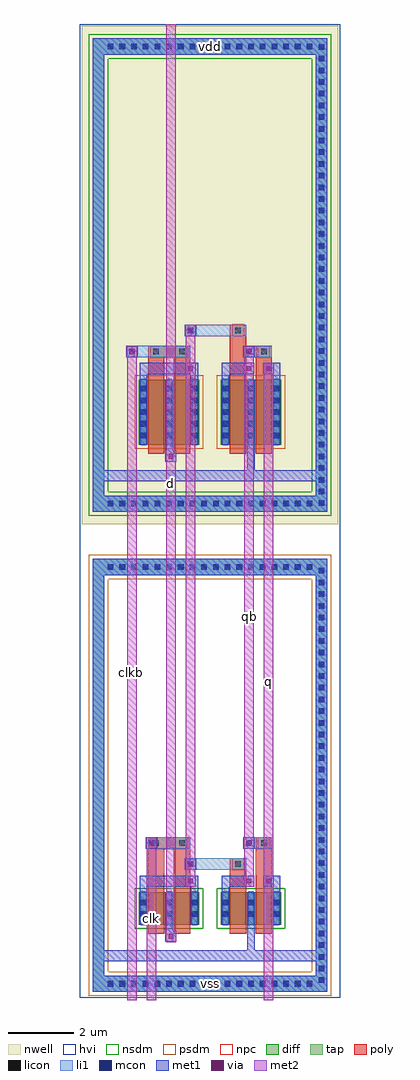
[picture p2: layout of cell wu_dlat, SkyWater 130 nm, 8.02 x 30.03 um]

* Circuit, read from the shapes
.subckt wu_dlat clk clkb d q qb vdd vss
XM1 d clk n1 vss sky130_fd_pr__nfet_g5v0d10v5 w=1 l=0.5 m=2
XM2 vss n1 qb vss sky130_fd_pr__nfet_g5v0d10v5 w=1 l=0.5
XM3 q qb vss vss sky130_fd_pr__nfet_g5v0d10v5 w=1 l=0.5
XM4 d clkb n1 vdd sky130_fd_pr__pfet_g5v0d10v5 w=2 l=0.5 m=2
XM5 vdd n1 qb vdd sky130_fd_pr__pfet_g5v0d10v5 w=2 l=0.5
XM6 q qb vdd vdd sky130_fd_pr__pfet_g5v0d10v5 w=2 l=0.5
.ends

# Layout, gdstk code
import gdstk
lib = gdstk.Library(unit=1e-6, precision=1e-09)
def R(c, l, rs):  # rectangles x0, y0, x1, y1
    for r in rs: c.add(gdstk.rectangle(r[:2], r[2:], *l))
def A(c, l, x, y, w, h, nx, ny, dx, dy):  # array of equal rectangles
    R(c, l, [(x+i*dx, y+j*dy, x+i*dx+w, y+j*dy+h) for i in range(nx) for j in range(ny)])
nwell = (64, 20)
diff = (65, 20)
tap = (65, 44)
poly = (66, 20)
licon = (66, 44)
li1 = (67, 20)
mcon = (67, 44)
met1 = (68, 20)
via = (68, 44)
met2 = (69, 20)
hvi = (75, 20)
nsdm = (93, 44)
psdm = (94, 20)
npc = (95, 20)

wu_dlat = lib.new_cell('wu_dlat')
R(wu_dlat, nwell, [(-3.95,14.64,3.95,29.97)])
R(wu_dlat, diff, [(-2.195,2.32,-0.325,3.32), (0.325,2.32,2.195,3.32), (-2.195,17.09,-0.325,19.09), (0.325,17.09,2.195,19.09)])
R(wu_dlat, tap, [(-3.6,0.25,3.6,0.75), (-3.6,0.25,-3.26,13.57), (3.26,0.25,3.6,13.57), (-3.6,13.07,3.6,13.57), (-3.6,15.02,3.6,15.52), (-3.6,15.02,-3.26,29.59), (3.26,15.02,3.6,29.59), (-3.6,29.09,3.6,29.59)])
R(wu_dlat, poly, [(-1.905,2.035,-1.405,3.605), (-1.115,2.035,-0.615,3.605), (0.615,2.035,1.115,3.605), (1.405,2.035,1.905,3.605), (-1.905,3.32,-1.405,4.83), (-1.115,3.32,-0.615,4.83), (0.615,3.32,1.115,4.18), (1.405,3.32,1.905,4.83), (0.615,4,1.115,4.36), (-1.905,4.65,-0.615,5.01), (1.405,4.65,1.905,5.01), (-1.905,16.805,-1.405,19.375), (-1.115,16.805,-0.615,19.375), (0.615,16.805,1.115,19.375), (1.405,16.805,1.905,19.375), (-1.905,19.09,-1.405,19.95), (-1.115,19.09,-0.615,19.95), (0.615,19.09,1.115,20.6), (1.405,19.09,1.905,19.95), (-1.905,19.77,-0.615,20.13), (1.405,19.77,1.905,20.13), (0.615,20.42,1.115,20.78)])
A(wu_dlat, licon, -3.145, 0.415, 0.17, 0.17, 18, 2, 0.36, 12.82)
A(wu_dlat, licon, 3.345, 0.525, 0.17, 0.17, 1, 36, 0, 0.36)
A(wu_dlat, licon, -2.135, 2.555, 0.17, 0.17, 3, 2, 0.79, 0.36)
A(wu_dlat, licon, 0.385, 2.555, 0.17, 0.17, 3, 2, 0.79, 0.36)
A(wu_dlat, licon, -3.145, 15.185, 0.17, 0.17, 18, 2, 0.36, 14.07)
A(wu_dlat, licon, 3.345, 15.2, 0.17, 0.17, 1, 40, 0, 0.36)
A(wu_dlat, licon, -2.135, 17.285, 0.17, 0.17, 3, 5, 0.79, 0.36)
A(wu_dlat, licon, 0.385, 17.285, 0.17, 0.17, 3, 5, 0.79, 0.36)
R(wu_dlat, licon, [(0.78,4.095,0.95,4.265), (-1.74,4.745,-1.57,4.915), (-0.95,4.745,-0.78,4.915), (1.57,4.745,1.74,4.915), (-1.74,19.865,-1.57,20.035), (-0.95,19.865,-0.78,20.035), (1.57,19.865,1.74,20.035), (0.78,20.515,0.95,20.685)])
A(wu_dlat, li1, -2.135, 2.3, 0.17, 1.04, 3, 1, 0.79, 0)
A(wu_dlat, li1, 0.385, 2.3, 0.17, 1.04, 3, 1, 0.79, 0)
A(wu_dlat, li1, -2.135, 17.07, 0.17, 2.04, 3, 1, 0.79, 0)
A(wu_dlat, li1, 0.385, 17.07, 0.17, 2.04, 3, 1, 0.79, 0)
R(wu_dlat, li1, [(-3.6,0.25,3.6,0.75), (-3.6,0.25,-3.26,13.57), (3.26,0.25,3.6,13.57), (-0.77,4,1.115,4.36), (-1.97,4.65,-0.615,5.01), (1.03,4.65,1.905,5.01), (-3.6,13.07,3.6,13.57), (-3.6,15.02,3.6,15.52), (-3.6,15.02,-3.26,29.59), (3.26,15.02,3.6,29.59), (-2.57,19.77,-0.615,20.13), (1.03,19.77,1.905,20.13), (-0.77,20.42,1.115,20.78), (-3.6,29.09,3.6,29.59)])
A(wu_dlat, mcon, -3.145, 0.415, 0.17, 0.17, 18, 2, 0.36, 12.82)
A(wu_dlat, mcon, 3.345, 0.525, 0.17, 0.17, 1, 36, 0, 0.36)
A(wu_dlat, mcon, -2.135, 2.555, 0.17, 0.17, 3, 2, 0.79, 0.36)
A(wu_dlat, mcon, 0.385, 2.555, 0.17, 0.17, 3, 2, 0.79, 0.36)
A(wu_dlat, mcon, -3.145, 15.185, 0.17, 0.17, 18, 2, 0.36, 14.07)
A(wu_dlat, mcon, 3.345, 15.2, 0.17, 0.17, 1, 40, 0, 0.36)
A(wu_dlat, mcon, -2.135, 17.285, 0.17, 0.17, 3, 5, 0.79, 0.36)
A(wu_dlat, mcon, 0.385, 17.285, 0.17, 0.17, 3, 5, 0.79, 0.36)
R(wu_dlat, mcon, [(-0.685,4.095,-0.515,4.265), (-1.885,4.745,-1.715,4.915), (1.115,4.745,1.285,4.915), (-2.485,19.865,-2.315,20.035), (1.115,19.865,1.285,20.035), (-0.685,20.515,-0.515,20.685)])
A(wu_dlat, met1, -2.165, 2.32, 0.23, 1, 3, 1, 0.79, 0)
A(wu_dlat, met1, 0.355, 2.32, 0.23, 1, 3, 1, 0.79, 0)
A(wu_dlat, met1, -2.165, 17.09, 0.23, 2, 3, 1, 0.79, 0)
A(wu_dlat, met1, 0.355, 17.09, 0.23, 2, 3, 1, 0.79, 0)
R(wu_dlat, met1, [(-3.6,0.25,3.6,0.75), (-3.6,0.25,-3.26,13.57), (3.26,0.25,3.6,13.57), (-3.43,1.19,3.43,1.53), (1.145,1.19,1.375,2.32), (-1.375,1.79,-1.145,2.32), (-1.375,1.79,-1.035,2.13), (-1.365,1.795,-1.035,2.125), (-2.165,3.32,-1.935,3.83), (-0.585,3.32,-0.355,3.83), (0.355,3.32,0.585,3.83), (1.935,3.32,2.165,3.83), (-2.165,3.49,-0.355,3.83), (0.355,3.49,1.365,3.83), (1.635,3.49,2.165,3.83), (-0.765,3.495,-0.435,3.825), (1.035,3.495,1.365,3.825), (1.635,3.495,1.965,3.825), (-0.77,4.01,-0.43,4.35), (-1.97,4.66,-1.63,5), (1.03,4.66,1.37,5), (-3.6,13.07,3.6,13.57), (-3.6,15.02,3.6,15.52), (-3.6,15.02,-3.26,29.59), (3.26,15.02,3.6,29.59), (-3.43,15.96,3.43,16.3), (1.145,15.96,1.375,17.09), (-1.375,16.56,-1.145,17.09), (-1.375,16.56,-1.035,16.9), (-1.365,16.565,-1.035,16.895), (-2.165,19.09,-1.935,19.6), (-0.585,19.09,-0.355,19.6), (0.355,19.09,0.585,19.6), (1.935,19.09,2.165,19.6), (-2.165,19.26,-0.355,19.6), (0.355,19.26,1.365,19.6), (1.635,19.26,2.165,19.6), (-0.765,19.265,-0.435,19.595), (1.035,19.265,1.365,19.595), (1.635,19.265,1.965,19.595), (-2.57,19.78,-2.23,20.12), (1.03,19.78,1.37,20.12), (-0.77,20.43,-0.43,20.77), (-3.6,29.09,3.6,29.59)])
R(wu_dlat, via, [(-1.275,1.885,-1.125,2.035), (-0.675,3.585,-0.525,3.735), (1.125,3.585,1.275,3.735), (1.725,3.585,1.875,3.735), (-0.675,4.105,-0.525,4.255), (-1.875,4.755,-1.725,4.905), (1.125,4.755,1.275,4.905), (-1.275,16.655,-1.125,16.805), (-0.675,19.355,-0.525,19.505), (1.125,19.355,1.275,19.505), (1.725,19.355,1.875,19.505), (-2.475,19.875,-2.325,20.025), (1.125,19.875,1.275,20.025), (-0.675,20.525,-0.525,20.675)])
R(wu_dlat, met2, [(-2.54,0,-2.26,20.13), (-1.94,0,-1.66,5.01), (1.66,0,1.94,19.61), (-1.34,1.78,-1.06,30.03), (-1.365,1.795,-1.035,2.125), (-0.74,3.48,-0.46,20.78), (1.06,3.48,1.34,20.13), (-0.765,3.495,-0.435,3.825), (1.035,3.495,1.365,3.825), (1.635,3.495,1.965,3.825), (-0.765,4.015,-0.435,4.345), (-1.965,4.665,-1.635,4.995), (1.035,4.665,1.365,4.995), (-1.365,16.565,-1.035,16.895), (-0.765,19.265,-0.435,19.595), (1.035,19.265,1.365,19.595), (1.635,19.265,1.965,19.595), (-2.565,19.785,-2.235,20.115), (1.035,19.785,1.365,20.115), (-0.765,20.435,-0.435,20.765)])
R(wu_dlat, hvi, [(-4.01,0.065,4.01,30.03)])
R(wu_dlat, nsdm, [(-2.32,2.195,-0.2,3.445), (0.2,2.195,2.32,3.445), (-3.725,14.895,3.725,15.645), (-3.725,14.895,-3.135,29.715), (3.135,14.895,3.725,29.715), (-3.725,28.965,3.725,29.715)])
R(wu_dlat, psdm, [(-3.725,0.125,3.725,0.875), (-3.725,0.125,-3.135,13.695), (3.135,0.125,3.725,13.695), (-3.725,12.945,3.725,13.695), (-2.32,16.965,-0.2,19.215), (0.2,16.965,2.32,19.215)])
R(wu_dlat, npc, [(0.68,3.995,1.05,4.365), (-1.84,4.645,-0.68,5.015), (1.47,4.645,1.84,5.015), (-1.84,19.765,-0.68,20.135), (1.47,19.765,1.84,20.135), (0.68,20.415,1.05,20.785)])
wu_dlat.add(gdstk.Label('vdd', (0,29.34), layer=68, texttype=5))
wu_dlat.add(gdstk.Label('vss', (0,0.5), layer=68, texttype=5))
wu_dlat.add(gdstk.Label('d', (-1.2,15.905), layer=69, texttype=5))
wu_dlat.add(gdstk.Label('clk', (-1.8,2.505), layer=69, texttype=5))
wu_dlat.add(gdstk.Label('clkb', (-2.4,10.065), layer=69, texttype=5))
wu_dlat.add(gdstk.Label('q', (1.8,9.805), layer=69, texttype=5))
wu_dlat.add(gdstk.Label('qb', (1.2,11.805), layer=69, texttype=5))

lib.write_gds('wu_dlat.gds')
